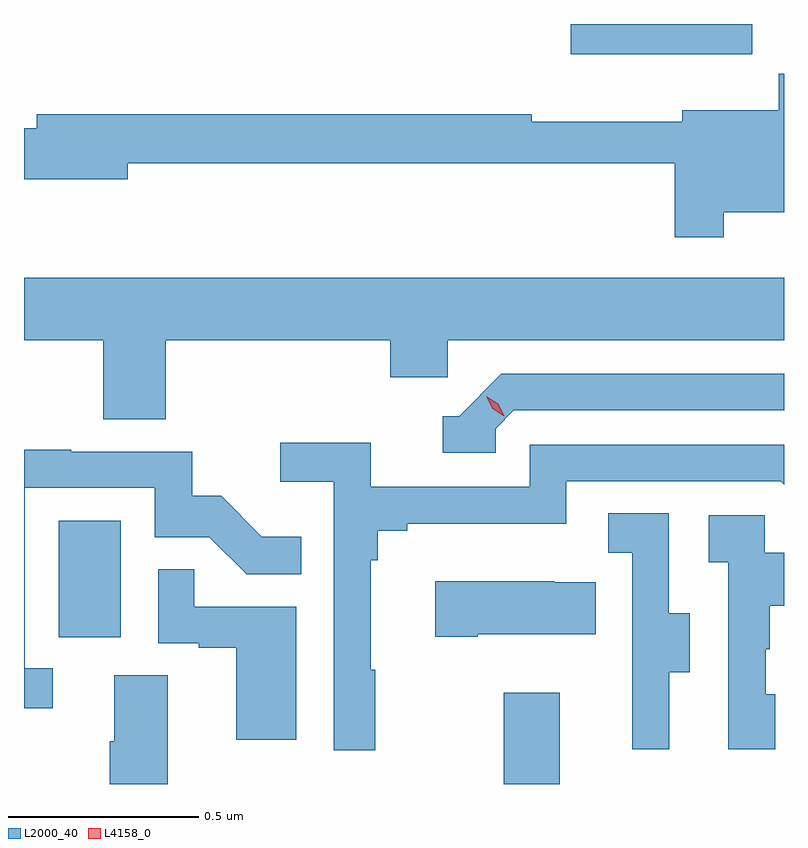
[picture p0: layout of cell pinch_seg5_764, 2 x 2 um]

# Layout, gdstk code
import gdstk
lib = gdstk.Library(unit=1e-6, precision=1e-09)
def R(c, l, rs):  # rectangles x0, y0, x1, y1
    for r in rs: c.add(gdstk.rectangle(r[:2], r[2:], *l))
def P(c, l, *ps):  # polygons
    for p in ps: c.add(gdstk.Polygon(p, *l))
L2000_40 = (2000, 40)
L4158_0 = (4158, 0)

pinch_seg5_764 = lib.new_cell('pinch_seg5_764')
R(pinch_seg5_764, L2000_40, [(832.27,912.868,832.417,913.108), (831.098,913.254,831.262,913.561), (832.446,914.789,832.924,914.868)])
P(pinch_seg5_764, L2000_40, [(832.849,914.372),(833.007,914.372),(833.007,914.737),(832.993,914.737),(832.993,914.641),(832.739,914.641),(832.739,914.611),(832.343,914.611),(832.343,914.63),(831.041,914.63),(831.041,914.594),(831.007,914.594),(831.007,914.459),(831.28,914.459),(831.28,914.502),(832.72,914.502),(832.72,914.307),(832.849,914.307)],
  [(831.38,914.036),(831.971,914.036),(831.971,913.938),(832.122,913.938),(832.122,914.036),(833.007,914.036),(833.007,914.2),(831.007,914.2),(831.007,914.036),(831.215,914.036),(831.215,913.828),(831.38,913.828)],
  [(832.248,913.803),(832.296,913.851),(833.007,913.851),(833.007,913.947),(832.263,913.947),(832.152,913.836),(832.109,913.836),(832.109,913.74),(832.248,913.74)],
  [(831.931,913.169),(831.919,913.169),(831.919,913.457),(831.938,913.457),(831.938,913.534),(832.015,913.534),(832.015,913.553),(832.434,913.553),(832.434,913.665),(832.998,913.665),(833.007,913.656),(833.007,913.761),(832.338,913.761),(832.338,913.65),(831.92,913.65),(831.92,913.766),(831.681,913.766),(831.681,913.664),(831.822,913.664),(831.822,912.957),(831.931,912.957)],
  [(831.082,913.173),(831.009,913.173),(831.009,913.647),(831.351,913.647),(831.351,913.518),(831.495,913.518),(831.593,913.42),(831.737,913.42),(831.737,913.519),(831.633,913.519),(831.526,913.626),(831.45,913.626),(831.45,913.743),(831.131,913.743),(831.131,913.748),(831.007,913.748),(831.007,913.068),(831.082,913.068)],
  [(832.705,913.162),(832.759,913.162),(832.759,913.317),(832.704,913.317),(832.704,913.58),(832.545,913.58),(832.545,913.477),(832.608,913.477),(832.608,913.173),(832.607,913.173),(832.607,912.96),(832.705,912.96)],
  [(832.984,913.104),(832.959,913.104),(832.959,913.223),(832.969,913.223),(832.969,913.337),(833.007,913.337),(833.007,913.477),(832.956,913.477),(832.956,913.575),(832.809,913.575),(832.809,913.451),(832.86,913.451),(832.86,912.96),(832.984,912.96)],
  [(831.724,913.335),(831.455,913.335),(831.455,913.433),(831.36,913.433),(831.36,913.239),(831.467,913.239),(831.467,913.227),(831.566,913.227),(831.566,912.984),(831.724,912.984)],
  [(832.201,913.262),(832.511,913.262),(832.511,913.399),(832.403,913.399),(832.403,913.402),(832.089,913.402),(832.089,913.255),(832.201,913.255)],
  [(831.245,913.154),(831.245,912.98),(831.233,912.98),(831.233,912.868),(831.385,912.868),(831.385,913.154)])
P(pinch_seg5_764, L4158_0, [(832.271,913.836),(832.24,913.855),(832.224,913.888),(832.224,913.888),(832.224,913.888),(832.255,913.869),(832.271,913.836),(832.271,913.836)])

lib.write_gds('pinch_seg5_764.gds')
